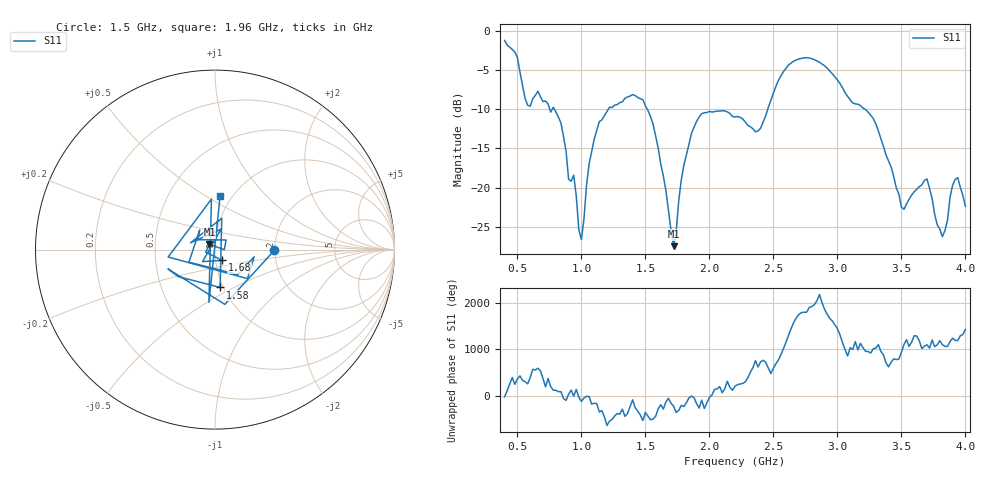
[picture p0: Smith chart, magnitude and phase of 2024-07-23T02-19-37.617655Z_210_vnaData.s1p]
!Created with skrf (http://scikit-rf.org).
# Hz S RI R 50.0
!freq ReS11 ImS11
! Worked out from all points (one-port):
!   181 points, 400 MHz to 4 GHz, reference 50 ohm
!   lowest |S11| = -27.4 dB at 1.72 GHz (marker M1), VSWR 1.09, Z = 46.9 + j2.75 ohm
!   |S11| at or under -10 dB: 788 MHz to 1.211 GHz (422.8 MHz wide, 42.3 % of centre); 1.514 GHz to 2.456 GHz (942 MHz wide, 47.4 % of centre); 3.216 GHz to end of sweep (the widest 3 of 4)
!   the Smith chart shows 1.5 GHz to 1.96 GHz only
!   S11 on the Smith chart (normalised r, x): 1.5 GHz: 1.99, -0.02; 1.58 GHz: 0.97, -0.43; 1.68 GHz: 1.07, -0.13; 1.96 GHz: 0.88, +0.58
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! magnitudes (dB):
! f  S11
! 400 MHz  -1.3
! 500 MHz  -3.4
! 580 MHz  -9.5
! 660 MHz  -7.7
! 860 MHz  -13.5
! 900 MHz  -18.9
! 940 MHz  -18.4
! 1 GHz  -26.6
! 1.1 GHz  -13.8
! 1.3 GHz  -9.2
! 1.5 GHz  -9.6
! 1.58 GHz  -13.4
! 1.68 GHz  -22.9
! 1.72 GHz  -27.4
! 1.76 GHz  -21.7
! 1.86 GHz  -13.1
! 1.96 GHz  -10.5
! 2.2 GHz  -11.0
! 2.38 GHz  -12.8
! 2.66 GHz  -3.9
! 3.1 GHz  -8.8
! 3.3 GHz  -11.9
! 3.5 GHz  -22.5
! 3.56 GHz  -21.5
! 3.7 GHz  -18.9
! 3.82 GHz  -26.2
! 3.92 GHz  -19.0
! 4 GHz  -22.4
